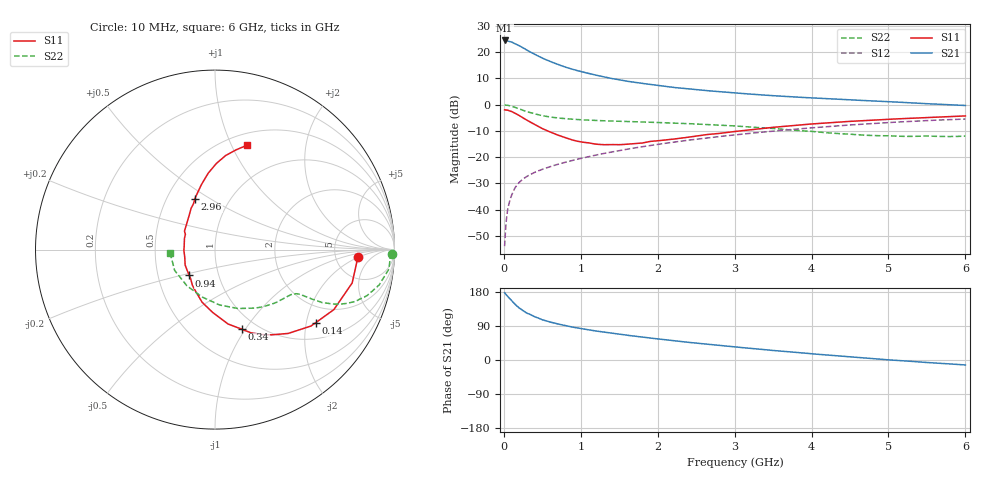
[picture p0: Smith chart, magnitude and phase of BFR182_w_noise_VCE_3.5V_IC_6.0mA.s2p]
! Infineon Technologies  Discrete & RF Semiconductors
! BFR182
! VCE =  3.5 V,  IC =  6.0 mA
! Common Emitter S-Parameters:  Nov 2015
# GHz  S  MA  R  50
!  f  S11  S21  S12  S22
! GHz  MAG  ANG  MAG  ANG  MAG  ANG  MAG  ANG
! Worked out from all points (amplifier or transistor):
!   210 points, 10 MHz to 6 GHz, reference 50 ohm
!   highest |S21| = 24.5 dB at 10 MHz (marker M1)
!   |S21| within 3 dB of that: start of sweep to 260 MHz
!   unconditionally stable (mu >= 1): 984.9 MHz to 2.793 GHz
!   at 185 MHz: K = 0.38, MSG = 26.4 dB, |S12| = -30.1 dB
!   at 1.52 GHz: K = 1.05, MAG = 12.0 dB, |S12| = -17.4 dB
!   at 6 GHz: K = 0.88, MSG = 2.6 dB, |S12| = -5.5 dB
!   lowest NFmin = 1.20 dB at 450 MHz
!   S11 on the Smith chart (normalised r, x): 10 MHz: 8.39, -1.91; 140 MHz: 1.45, -2.27; 340 MHz: 0.85, -0.97; 940 MHz: 0.72, -0.22; 2.96 GHz: 0.69, +0.43; 6 GHz: 0.62, +1.15
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0.01  0.7966 -3.0  16.76 177.5  0.002 88.9  0.9883 -1.3
0.02  0.7926 -5.4  16.43 174.8  0.0036 88.9  0.9774 -2.6
0.05  0.7864 -13.7  16.38 167.9  0.01 82.5  0.9749 -6.4
0.1  0.7418 -26.8  15.74 156.6  0.0186 78.6  0.9355 -12.2
0.14  0.6931 -36.0  14.63 148.2  0.025 72.1  0.8943 -15.9
0.2  0.62 -48.9  13.33 137.2  0.033 67.9  0.8308 -20.4
0.24  0.5701 -56.4  12.34 131.3  0.0372 65.4  0.788 -22.4
0.28  0.526 -63.1  11.39 126.2  0.041 64.2  0.7507 -23.8
0.34  0.4687 -71.3  10.18 120.3  0.0462 63.0  0.7066 -25.2
0.4  0.4205 -80.1  9.127 114.3  0.0512 62.0  0.6671 -26.3
0.5  0.35 -92.2  7.696 106.1  0.0585 61.9  0.6158 -26.9
0.6  0.3022 -103.7  6.67 100.2  0.0655 62.0  0.581 -27.3
0.76  0.2455 -118.3  5.455 92.5  0.0769 62.5  0.5469 -27.6
0.94  0.2031 -134.8  4.522 85.1  0.0902 63.2  0.522 -28.2
1.02  0.1929 -143.8  4.215 82.3  0.0958 63.7  0.5133 -28.6
1.4  0.1735 -178.5  3.155 70.9  0.1248 64.0  0.4871 -31.6
2.02  0.2062 142.0  2.303 55.3  0.1764 61.9  0.4571 -39.0
2.96  0.3021 111.9  1.691 35.3  0.2612 55.4  0.3955 -55.3
3.1  0.3189 109.1  1.631 32.7  0.2742 54.1  0.3832 -58.4
4.1  0.4381 93.7  1.322 14.8  0.3705 43.9  0.2996 -88.9
5.1  0.5347 82.4  1.121 -0.9  0.4642 31.8  0.2509 -132.8
6  0.6096 72.8  0.964 -13.1  0.5314 19.0  0.251 -176.0
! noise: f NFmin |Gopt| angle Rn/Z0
0.45  1.2  0.27  37  0.3
0.9  1.3  0.25  75  0.23
1.8  1.9  0.21  145  0.2
